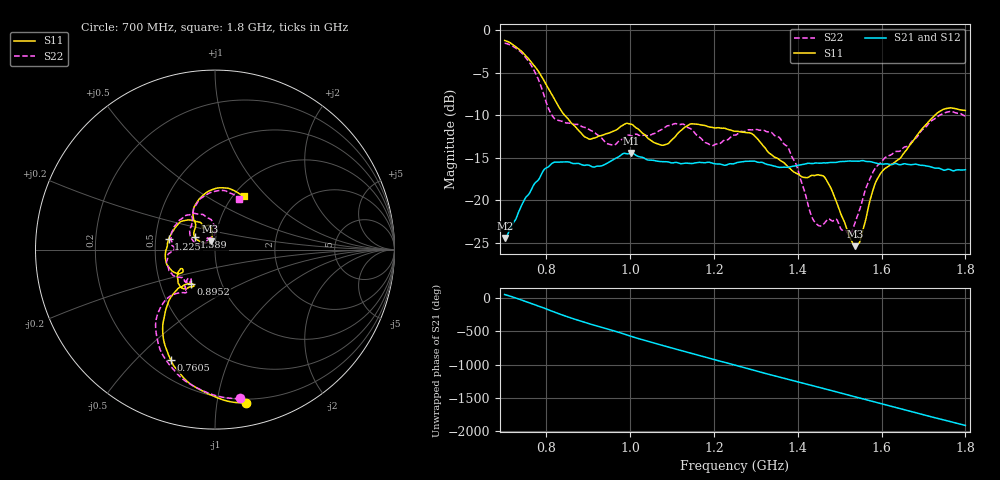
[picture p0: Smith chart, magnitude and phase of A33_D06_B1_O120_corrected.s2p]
! Created with skrf 1.9.0 (http://scikit-rf.org).
# Hz S RI R 50.0
!freq ReS11 ImS11 ReS21 ImS21 ReS12 ImS12 ReS22 ImS22
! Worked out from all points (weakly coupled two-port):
!   1601 points, 700 MHz to 1.8 GHz, reference 50 ohm
!   highest |S21| = -14.46 dB at 1.002 GHz (marker M1); lowest = -24.5 dB at 700.7 MHz (marker M2)
!   lowest |S11| = -25.4 dB at 1.536 GHz (marker M3), VSWR 1.11, Z = 47.4 + j4.49 ohm
!   |S11| at or under -10 dB: 843.4 MHz to 1.727 GHz (883.7 MHz wide, 68.8 % of centre)
!   |S22| runs from -24.1 to -1.5 dB; largest |S21 - S12| = 0.0035
!   S11 on the Smith chart (normalised r, x): 700 MHz: 0.17, -1.21; 760.5 MHz: 0.29, -0.64; 895.2 MHz: 0.72, -0.29; 1.225 GHz: 0.59, +0.08; 1.589 GHz: 0.79, +0.11; 1.8 GHz: 1.12, +0.75
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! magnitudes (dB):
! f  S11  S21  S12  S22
! 700 MHz  -1.2  -24.5  -24.2  -1.5
! 700.7 MHz  -1.2  -24.5  -24.2  -1.5
! 760.5 MHz  -3.6  -19.1  -19.0  -3.9
! 816.9 MHz  -7.9  -15.6  -15.7  -10.3
! 883.6 MHz  -12.1  -15.8  -15.7  -11.3
! 895.2 MHz  -12.6  -15.9  -16.0  -11.5
! 955.8 MHz  -12.0  -15.3  -15.3  -13.5
! 1.002 GHz  -11.1  -14.5  -14.6  -12.4
! 1.067 GHz  -13.4  -15.4  -15.4  -11.9
! 1.145 GHz  -11.0  -15.7  -15.7  -11.6
! 1.225 GHz  -11.5  -15.9  -15.9  -12.9
! 1.25 GHz  -11.9  -15.7  -15.6  -12.3
! 1.357 GHz  -15.3  -16.1  -16.1  -12.7
! 1.396 GHz  -16.8  -15.9  -15.9  -15.8
! 1.434 GHz  -17.1  -15.7  -15.7  -22.0
! 1.469 GHz  -17.7  -15.6  -15.6  -22.4
! 1.523 GHz  -24.3  -15.4  -15.4  -24.1
! 1.536 GHz  -25.4  -15.4  -15.4  -22.7
! 1.589 GHz  -17.6  -15.7  -15.7  -16.0
! 1.617 GHz  -16.0  -15.8  -15.7  -14.8
! 1.735 GHz  -9.7  -16.2  -16.3  -10.1
! 1.8 GHz  -9.4  -16.4  -16.4  -10.1
